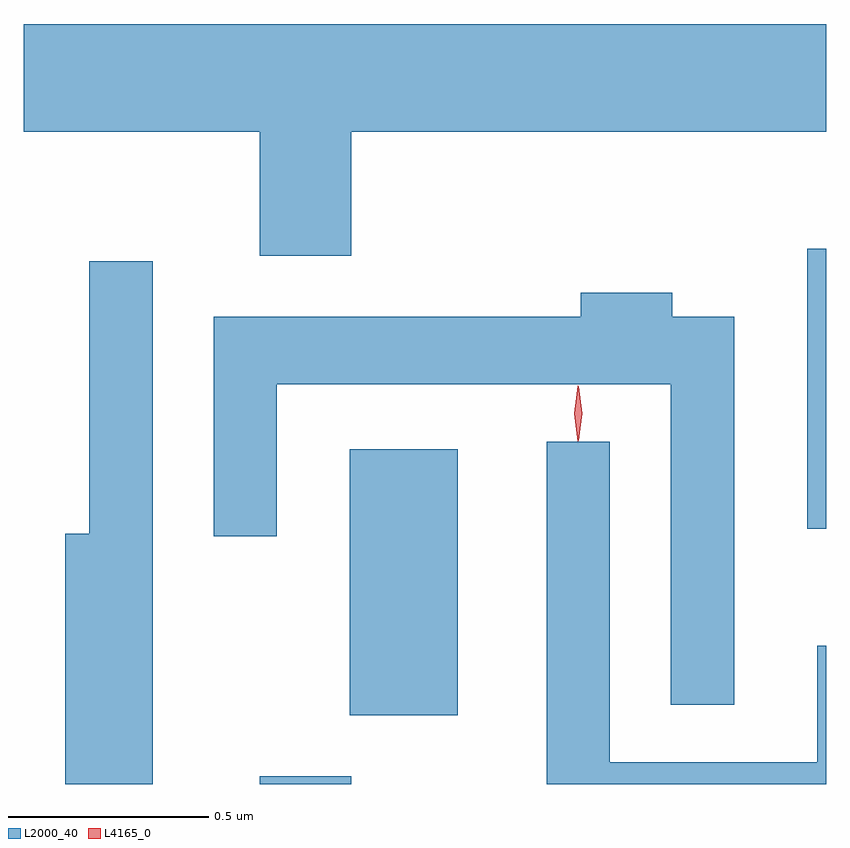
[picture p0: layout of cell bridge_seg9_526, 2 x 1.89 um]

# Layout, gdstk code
import gdstk
lib = gdstk.Library(unit=1e-6, precision=1e-09)
def R(c, l, rs):  # rectangles x0, y0, x1, y1
    for r in rs: c.add(gdstk.rectangle(r[:2], r[2:], *l))
def P(c, l, *ps):  # polygons
    for p in ps: c.add(gdstk.Polygon(p, *l))
L2000_40 = (2000, 40)
L4165_0 = (4165, 0)

bridge_seg9_526 = lib.new_cell('bridge_seg9_526')
R(bridge_seg9_526, L2000_40, [(547.671,1959.11,547.899,1959.129), (547.896,1959.281,548.164,1959.944), (549.036,1959.746,549.083,1960.444)])
P(bridge_seg9_526, L2000_40, [(547.899,1960.736),(549.083,1960.736),(549.083,1961.004),(547.083,1961.004),(547.083,1960.736),(547.671,1960.736),(547.671,1960.426),(547.899,1960.426)],
  [(547.404,1960.413),(547.246,1960.413),(547.246,1959.734),(547.186,1959.734),(547.186,1959.11),(547.404,1959.11)],
  [(548.854,1960.274),(548.699,1960.274),(548.699,1960.334),(548.471,1960.334),(548.471,1960.274),(547.556,1960.274),(547.556,1959.728),(547.714,1959.728),(547.714,1960.106),(548.696,1960.106),(548.696,1959.308),(548.854,1959.308)],
  [(549.083,1959.454),(549.061,1959.454),(549.061,1959.164),(548.544,1959.164),(548.544,1959.963),(548.386,1959.963),(548.386,1959.11),(549.083,1959.11)])
P(bridge_seg9_526, L4165_0, [(548.464,1959.964),(548.455,1960.033),(548.464,1960.102),(548.465,1960.103),(548.465,1960.102),(548.475,1960.033),(548.465,1959.964),(548.465,1959.964)],
  [(548.464,1959.967),(548.455,1960.034),(548.464,1960.1),(548.465,1960.1),(548.466,1960.1),(548.475,1960.034),(548.466,1959.967),(548.465,1959.967)])

lib.write_gds('bridge_seg9_526.gds')
